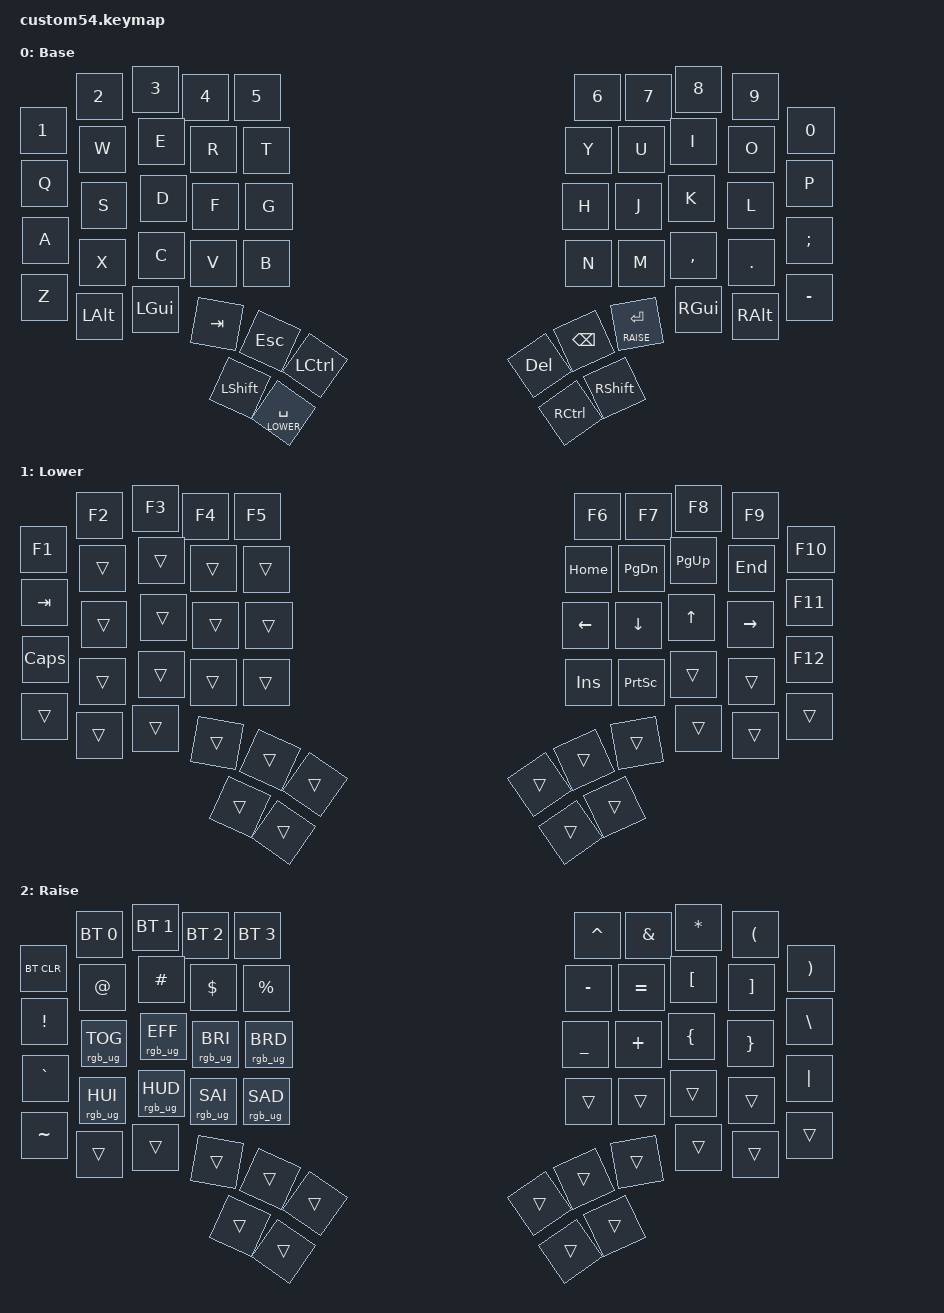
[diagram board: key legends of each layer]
#include <behaviors.dtsi>
#include <dt-bindings/zmk/keys.h>
#include <dt-bindings/zmk/bt.h>
#include <dt-bindings/zmk/rgb.h>

#define DEFAULT 0
#define LOWER   1
#define RAISE   2

/ {
    keymap {
        compatible = "zmk,keymap";

        default_layer {
            display-name = "Base";
            bindings = <
/* Row 0: Numbers */
&kp N1     &kp N2    &kp N3    &kp N4    &kp N5          &kp N6     &kp N7    &kp N8    &kp N9    &kp N0
/* Row 1: Top */
&kp Q      &kp W     &kp E     &kp R     &kp T           &kp Y      &kp U     &kp I     &kp O     &kp P
/* Row 2: Home */
&kp A      &kp S     &kp D     &kp F     &kp G           &kp H      &kp J     &kp K     &kp L     &kp SEMI
/* Row 3: Bottom */
&kp Z      &kp X     &kp C     &kp V     &kp B           &kp N      &kp M     &kp COMMA &kp DOT   &kp MINUS
/* Row 4: Extra bottom keys */
           &kp LALT  &kp LGUI                                       &kp RGUI  &kp RALT
/* Row 5: Thumb clusters */
&kp TAB    &kp ESC   &kp LCTRL &kp LSHFT &lt LOWER SPACE &lt RAISE RET &kp BSPC  &kp DEL   &kp RSHFT &kp RCTRL
            >;
        };

        lower_layer {
            display-name = "Lower";
            bindings = <
/* Row 0 */
&kp F1     &kp F2    &kp F3    &kp F4    &kp F5          &kp F6     &kp F7    &kp F8    &kp F9    &kp F10
/* Row 1 */
&kp TAB    &trans    &trans    &trans    &trans          &kp HOME   &kp PG_DN &kp PG_UP &kp END   &kp F11
/* Row 2 */
&kp CAPS   &trans    &trans    &trans    &trans          &kp LEFT   &kp DOWN  &kp UP    &kp RIGHT &kp F12
/* Row 3 */
&trans     &trans    &trans    &trans    &trans          &kp INS    &kp PSCRN &trans    &trans    &trans
/* Row 4 */
           &trans    &trans                                         &trans    &trans
/* Row 5 */
&trans     &trans    &trans    &trans    &trans          &trans     &trans    &trans    &trans    &trans
            >;
        };

        raise_layer {
            display-name = "Raise";
            bindings = <
/* Row 0 */
&bt BT_CLR &bt BT_SEL 0    &bt BT_SEL 1    &bt BT_SEL 2    &bt BT_SEL 3      &kp CARET  &kp AMPS  &kp ASTRK &kp LPAR  &kp RPAR
/* Row 1 */
&kp EXCL   &kp AT          &kp HASH        &kp DLLR        &kp PRCNT         &kp MINUS  &kp EQUAL &kp LBKT  &kp RBKT  &kp BSLH
/* Row 2 */
&kp GRAVE  &rgb_ug RGB_TOG &rgb_ug RGB_EFF &rgb_ug RGB_BRI &rgb_ug RGB_BRD   &kp UNDER  &kp PLUS  &kp LBRC  &kp RBRC  &kp PIPE
/* Row 3 */
&kp TILDE  &rgb_ug RGB_HUI &rgb_ug RGB_HUD &rgb_ug RGB_SAI &rgb_ug RGB_SAD   &trans     &trans    &trans    &trans    &trans
/* Row 4 */
           &trans          &trans                                                       &trans    &trans
/* Row 5 */
&trans     &trans          &trans          &trans          &trans            &trans     &trans    &trans    &trans    &trans
            >;
        };
    };
};
